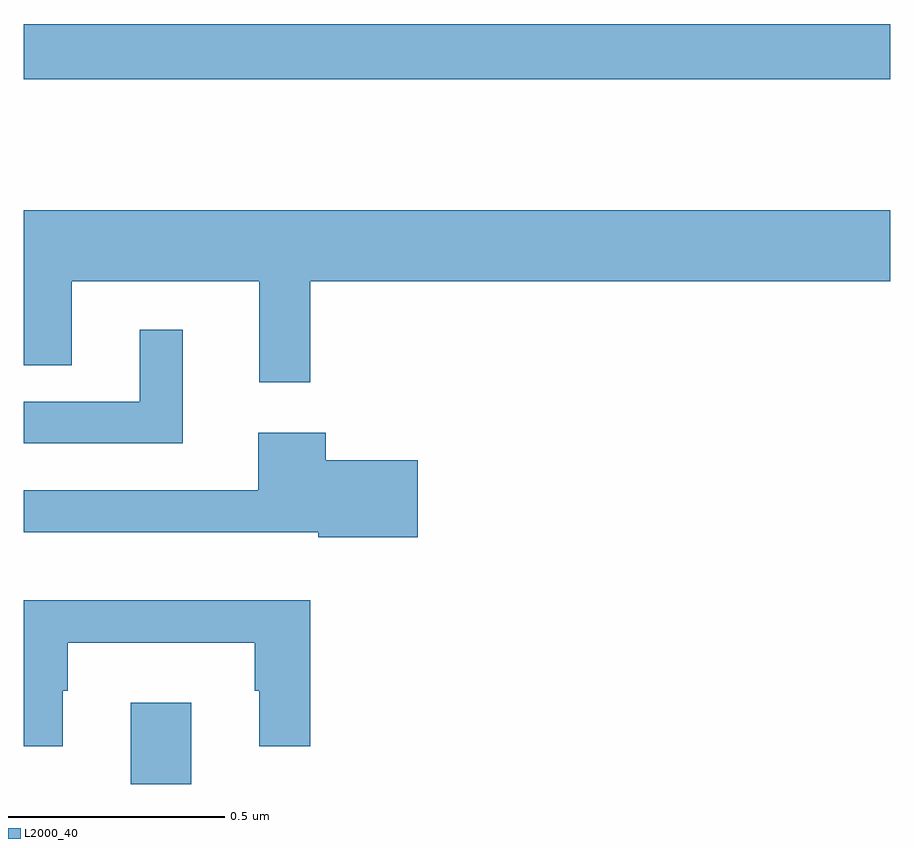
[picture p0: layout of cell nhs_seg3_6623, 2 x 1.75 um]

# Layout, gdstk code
import gdstk
lib = gdstk.Library(unit=1e-6, precision=1e-09)
def R(c, l, rs):  # rectangles x0, y0, x1, y1
    for r in rs: c.add(gdstk.rectangle(r[:2], r[2:], *l))
def P(c, l, *ps):  # polygons
    for p in ps: c.add(gdstk.Polygon(p, *l))
L2000_40 = (2000, 40)

nhs_seg3_6623 = lib.new_cell('nhs_seg3_6623')
R(nhs_seg3_6623, L2000_40, [(193.247,722.4,193.387,722.587), (193,724.026,195,724.154)])
P(nhs_seg3_6623, L2000_40, [(193.661,723.56),(195,723.56),(195,723.724),(193,723.724),(193,723.367),(193.111,723.367),(193.111,723.56),(193.544,723.56),(193.544,723.327),(193.661,723.327)],
  [(193.367,723.448),(193.268,723.448),(193.268,723.282),(193,723.282),(193,723.186),(193.367,723.186)],
  [(193.909,723.147),(193.697,723.147),(193.697,723.211),(193.541,723.211),(193.541,723.078),(193,723.078),(193,722.981),(193.68,722.981),(193.68,722.969),(193.909,722.969)],
  [(193.09,722.615),(193.102,722.615),(193.102,722.726),(193.533,722.726),(193.533,722.615),(193.544,722.615),(193.544,722.487),(193.661,722.487),(193.661,722.824),(193,722.824),(193,722.487),(193.09,722.487)])

lib.write_gds('nhs_seg3_6623.gds')
